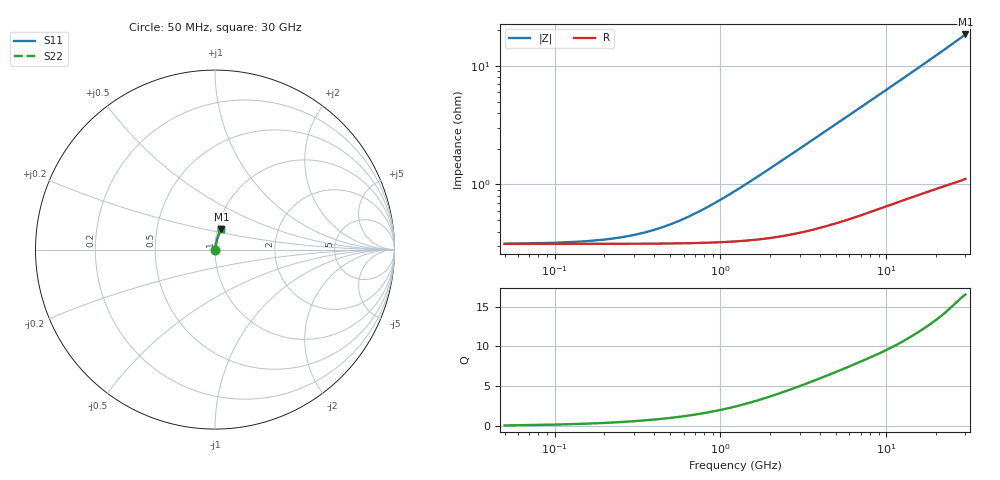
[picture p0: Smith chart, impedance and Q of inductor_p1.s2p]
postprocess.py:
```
#!/usr/bin/env python3
# SPDX-License-Identifier: Apache-2.0
"""De-embed the lumped ports and extract L/Q/SRF from every openEMS run.

Writes, per geometry:
  results/inductor_<g>_deembedded.s2p   raw extraction minus the port parasitic
  results/inductor_<g>_lq.csv           L/Q vs frequency, single-ended + diff
and one summary:
  results/em_summary.csv                scalar L/Q/SRF per geometry
  results/convergence.csv               mesh/margin sensitivity of those scalars

Needs only numpy; no EM solver, no PDK.

FAILURE CONTRACT.  All three geometries (p1, p13, p11) must have a parseable
Touchstone, port information and geometry metadata, otherwise the stage exits
nonzero before computing anything.  Outputs are computed into a disposable
staging directory under --dir and published only after every geometry
succeeded; any failure leaves every previously published file untouched.
Publication is per-file atomic renames, not a multi-file transaction (see
emlib.Stage).
"""

import argparse
import csv
import json
import os
import sys

import numpy as np

sys.path.insert(0, os.path.dirname(os.path.abspath(__file__)))
import emlib  # noqa: E402

GEOMS = emlib.GEOMS
SPOT_F = [1e9, 5e9, 10e9, 20e9]


def load_run(datadir, s2p):
    f, S, z0 = emlib.read_snp(s2p)
    with open(os.path.join(datadir, "port_information.json")) as fh:
        pinfo = json.load(fh)
    Lport = emlib.port_inductances(pinfo)
    Z = emlib.s2z(S, z0)
    Zd = emlib.deembed_series_L(f, Z, Lport)
    return f, S, Z, Zd, z0, Lport, pinfo


def scalars(f, Z):
    zse = emlib.z_single_ended(Z)
    zdi = emlib.z_differential(Z)
    Lse, Qse = emlib.lq(f, zse)
    Ldi, Qdi = emlib.lq(f, zdi)
    out = {
        "srf_se_hz": emlib.srf(f, zse),
        "srf_diff_hz": emlib.srf(f, zdi),
    }
    for f0 in SPOT_F:
        g = "%dg" % int(round(f0 / 1e9))
        out["l_se_%s" % g] = emlib.at(f, Lse, f0)
        out["q_se_%s" % g] = emlib.at(f, Qse, f0)
        out["l_diff_%s" % g] = emlib.at(f, Ldi, f0)
        out["q_diff_%s" % g] = emlib.at(f, Qdi, f0)
    out["rdc_ohm"] = float(np.real(zse[np.argmin(np.abs(f - 1e8))]))
    return out


def _variant_inputs(name, d, s2p):
    try:
        f, S, Z, Zd, z0, Lport, pinfo = load_run(d, s2p)
        with open(os.path.join(d, "run_meta.json")) as fh:
            meta = json.load(fh)
        cell, margin = meta["settings"]["refined_cellsize"], meta["settings"]["margin"]
    except Exception as e:  # noqa: BLE001
        raise emlib.InputError(
            "convergence variant %s: %s: %s: %s" % (name, d, type(e).__name__, e)
        )
    return f, Zd, meta, cell, margin


def main(argv=None):
    ap = argparse.ArgumentParser()
    ap.add_argument("--dir", required=True)
    args = ap.parse_args(argv)
    root = args.dir
    res = os.path.join(root, "results")
    try:
        run(root, res)
    except (emlib.InputError, emlib.PublishError) as e:
        print("error: %s" % e, file=sys.stderr)
        return 1
    return 0


def run(root, res):
    # ---- preflight: every geometry's inputs, before any output is computed
    inputs = {}
    problems = []
    for g in GEOMS:
        try:
            inputs[g] = emlib.load_geometry_inputs(root, g)
        except emlib.InputError as e:
            problems.append(str(e))
    if problems:
        raise emlib.InputError(
            "post stage needs all %d geometries (%s); nothing was written:\n  %s"
            % (len(GEOMS), " ".join(GEOMS), "\n  ".join(problems))
        )

    stage = emlib.Stage(root, "post")
    try:
        _compute(root, res, inputs, stage)
    except BaseException:
        stage.discard()
        raise
    stage.publish()


def _compute(root, res, inputs, stage):
    summary_rows = []
    for g in GEOMS:
        inp = inputs[g]
        f, S, z0, pinfo, gj = inp["f"], inp["S"], inp["z0"], inp["pinfo"], inp["gj"]
        Lport = emlib.port_inductances(pinfo)
        Z = emlib.s2z(S, z0)
        Zd = emlib.deembed_series_L(f, Z, Lport)
        Sd = emlib.z2s(Zd, z0)
        emlib.write_snp(
            stage.add(os.path.join(res, "inductor_%s_deembedded.s2p" % g)),
            f,
            Sd,
            z0,
            comments=[
                "openEMS extraction of the IHP SG13G2 inductor PCell, geometry %s" % g,
                "port parasitic de-embedded by cascading a negative series L per port",
                "L_port = %s pH (Terman flat-ribbon, from port_information.json)"
                % np.array2string(Lport * 1e12, precision=3),
            ],
        )

        zse_r, zdi_r = emlib.z_single_ended(Z), emlib.z_differential(Z)
        zse_d, zdi_d = emlib.z_single_ended(Zd), emlib.z_differential(Zd)
        Lse_r, Qse_r = emlib.lq(f, zse_r)
        Lse_d, Qse_d = emlib.lq(f, zse_d)
        Ldi_d, Qdi_d = emlib.lq(f, zdi_d)
        with open(stage.add(os.path.join(res, "inductor_%s_lq.csv" % g)), "w", newline="") as fh:
            wcsv = csv.writer(fh)
            wcsv.writerow(
                [
                    "f_hz",
                    "l_se_raw_h", "q_se_raw",
                    "l_se_h", "q_se", "re_zse_ohm", "im_zse_ohm",
                    "l_diff_h", "q_diff", "re_zdiff_ohm", "im_zdiff_ohm",
                ]
            )
            for i in range(len(f)):
                wcsv.writerow(
                    [
                        "%.10g" % f[i],
                        "%.6g" % Lse_r[i], "%.6g" % Qse_r[i],
                        "%.6g" % Lse_d[i], "%.6g" % Qse_d[i],
                        "%.6g" % zse_d[i].real, "%.6g" % zse_d[i].imag,
                        "%.6g" % Ldi_d[i], "%.6g" % Qdi_d[i],
                        "%.6g" % zdi_d[i].real, "%.6g" % zdi_d[i].imag,
                    ]
                )

        row = {"geometry": g}
        row.update({k: "%.6g" % v for k, v in scalars(f, Zd).items()})
        row.update(
            {
                "w_um": gj["w_um"], "s_um": gj["s_um"],
                "d_um": gj["d_um"], "nr_r": gj["nr_r"],
                "l_port1_ph": "%.4g" % (Lport[0] * 1e12),
                "l_port2_ph": "%.4g" % (Lport[1] * 1e12),
            }
        )
        summary_rows.append(row)
        print(
            "%-4s L_se(1G)=%8.4g nH  Q_se(1G)=%6.3g  Q_se(10G)=%6.3g  SRF_se=%7.4g GHz"
            % (
                g,
                float(row["l_se_1g"]) * 1e9,
                float(row["q_se_1g"]),
                float(row["q_se_10g"]),
                float(row["srf_se_hz"]) / 1e9,
            )
        )


    keys = list(summary_rows[0].keys())
    with open(stage.add(os.path.join(res, "em_summary.csv")), "w", newline="") as fh:
        wcsv = csv.DictWriter(fh, fieldnames=keys)
        wcsv.writeheader()
        for r in summary_rows:
            wcsv.writerow(r)

    # ------------------------------------------------------------ convergence
    # Optional: only when at least one variant run exists next to the baseline.
    # A variant directory that is present but incomplete is an error.
    conv = os.path.join(res, "convergence")
    variants = [("baseline", os.path.join(res, "inductor_p1"), os.path.join(res, "inductor_p1.s2p"))]
    for name in ("p1_mesh0p5", "p1_margin400"):
        d = os.path.join(conv, name)
        if os.path.isdir(d):
            variants.append((name, d, d + ".s2p"))
    if len(variants) < 2:
        return
    rows = []
    for name, d, s2p in variants:
        f, Zd, meta, cell, margin = _variant_inputs(name, d, s2p)
        r = {"variant": name}
        r["refined_cellsize_um"] = cell
        r["margin_um"] = margin
        r["wall_seconds"] = meta.get("wall_seconds", "")
        r.update({k: "%.6g" % v for k, v in scalars(f, Zd).items()})
        rows.append(r)
    base = rows[0]
    for r in rows:
        for k in ("l_se_1g", "q_se_10g", "srf_se_hz", "l_se_10g", "q_se_1g"):
            r["d_%s_pct" % k] = "%.3g" % (
                100.0 * (float(r[k]) - float(base[k])) / float(base[k])
            )
    keys = list(rows[0].keys())
    with open(stage.add(os.path.join(res, "convergence.csv")), "w", newline="") as fh:
        wcsv = csv.DictWriter(fh, fieldnames=keys)
        wcsv.writeheader()
        for r in rows:
            wcsv.writerow(r)
    print("\nconvergence (vs baseline mesh %s um / margin %s um):"
          % (base["refined_cellsize_um"], base["margin_um"]))
    for r in rows[1:]:
        print(
            "  %-14s dL(1G)=%+7s %%  dQ(10G)=%+7s %%  dSRF=%+7s %%"
            % (r["variant"], r["d_l_se_1g_pct"], r["d_q_se_10g_pct"], r["d_srf_se_hz_pct"])
        )


if __name__ == "__main__":
    sys.exit(main())
```
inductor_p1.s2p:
#  Hz  S  RI  R  50
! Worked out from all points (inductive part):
!   600 points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, 50 MHz to 30 GHz, reference 50 ohm
!   read as 1/Y11, port 2 shorted: L = 105 pH near 1.55 GHz
!   highest Q = 16.5 at 30 GHz (marker M1), where L = 97.4 pH
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5e7  0.00272 0.000197  0.9964 -0.000466  0.9965 -0.000467  0.00271 0.000198
3.5e8  0.00271 0.00138  0.9964 -0.00326  0.9964 -0.00326  0.0027 0.00139
1.45e9  0.00255 0.00585  0.9957 -0.0133  0.9957 -0.0133  0.00255 0.00587
2.35e9  0.00246 0.00974  0.9947 -0.021  0.9947 -0.021  0.00246 0.00974
3.5e9  0.00264 0.0149  0.9935 -0.0303  0.9935 -0.0302  0.00265 0.0149
4.85e9  0.00334 0.0209  0.9922 -0.0408  0.9922 -0.0408  0.00334 0.0208
6.65e9  0.0047 0.0284  0.9906 -0.0548  0.9906 -0.0549  0.0047 0.0284
8.95e9  0.00662 0.0376  0.9882 -0.0727  0.9882 -0.0727  0.00662 0.0376
1.505e10  0.0129 0.0612  0.9807 -0.1191  0.9807 -0.1191  0.0129 0.0612
2.175e10  0.0218 0.0858  0.9699 -0.1692  0.9699 -0.1692  0.0218 0.0858
3e10  0.0359 0.1149  0.9525 -0.2297  0.9525 -0.2297  0.0359 0.1149
